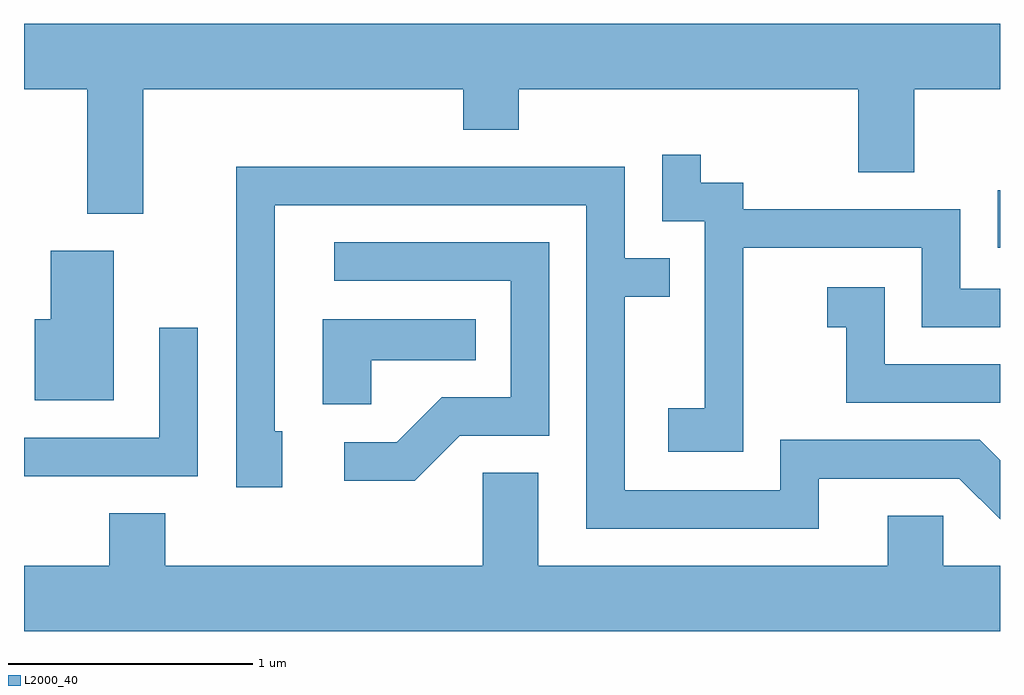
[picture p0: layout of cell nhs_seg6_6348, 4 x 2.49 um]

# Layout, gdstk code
import gdstk
lib = gdstk.Library(unit=1e-6, precision=1e-09)
def R(c, l, rs):  # rectangles x0, y0, x1, y1
    for r in rs: c.add(gdstk.rectangle(r[:2], r[2:], *l))
def P(c, l, *ps):  # polygons
    for p in ps: c.add(gdstk.Polygon(p, *l))
L2000_40 = (2000, 40)

nhs_seg6_6348 = lib.new_cell('nhs_seg6_6348')
R(nhs_seg6_6348, L2000_40, [(381.601,1593.786,381.611,1594.023)])
P(nhs_seg6_6348, L2000_40, [(378.099,1594.436),(379.411,1594.436),(379.411,1594.271),(379.639,1594.271),(379.639,1594.436),(381.031,1594.436),(381.031,1594.096),(381.259,1594.096),(381.259,1594.436),(381.611,1594.436),(381.611,1594.704),(377.611,1594.704),(377.611,1594.436),(377.871,1594.436),(377.871,1593.926),(378.099,1593.926)],
  [(380.559,1593.786),(381.291,1593.786),(381.291,1593.461),(381.611,1593.461),(381.611,1593.619),(381.449,1593.619),(381.449,1593.944),(380.559,1593.944),(380.559,1594.054),(380.384,1594.054),(380.384,1594.168),(380.226,1594.168),(380.226,1593.896),(380.401,1593.896),(380.401,1593.129),(380.251,1593.129),(380.251,1592.951),(380.559,1592.951)],
  [(380.869,1592.841),(381.444,1592.841),(381.611,1592.674),(381.611,1592.915),(381.527,1592.999),(380.711,1592.999),(380.711,1592.794),(380.074,1592.794),(380.074,1593.586),(380.258,1593.586),(380.258,1593.744),(380.074,1593.744),(380.074,1594.119),(378.481,1594.119),(378.481,1592.806),(378.669,1592.806),(378.669,1593.034),(378.639,1593.034),(378.639,1593.961),(379.916,1593.961),(379.916,1592.636),(380.869,1592.636)],
  [(379.397,1593.016),(379.764,1593.016),(379.764,1593.809),(378.883,1593.809),(378.883,1593.651),(379.606,1593.651),(379.606,1593.174),(379.324,1593.174),(379.139,1592.989),(378.923,1592.989),(378.923,1592.831),(379.212,1592.831)],
  [(377.979,1593.774),(377.721,1593.774),(377.721,1593.494),(377.656,1593.494),(377.656,1593.161),(377.979,1593.161)],
  [(381.611,1593.309),(381.139,1593.309),(381.139,1593.624),(380.903,1593.624),(380.903,1593.461),(380.981,1593.461),(380.981,1593.151),(381.611,1593.151)],
  [(379.034,1593.326),(379.463,1593.326),(379.463,1593.494),(378.836,1593.494),(378.836,1593.146),(379.034,1593.146)],
  [(378.324,1593.458),(378.166,1593.458),(378.166,1593.009),(377.611,1593.009),(377.611,1592.851),(378.324,1592.851)],
  [(381.611,1592.484),(381.379,1592.484),(381.379,1592.689),(381.151,1592.689),(381.151,1592.484),(379.719,1592.484),(379.719,1592.864),(379.491,1592.864),(379.491,1592.484),(378.189,1592.484),(378.189,1592.699),(377.961,1592.699),(377.961,1592.484),(377.611,1592.484),(377.611,1592.216),(381.611,1592.216)])

lib.write_gds('nhs_seg6_6348.gds')
